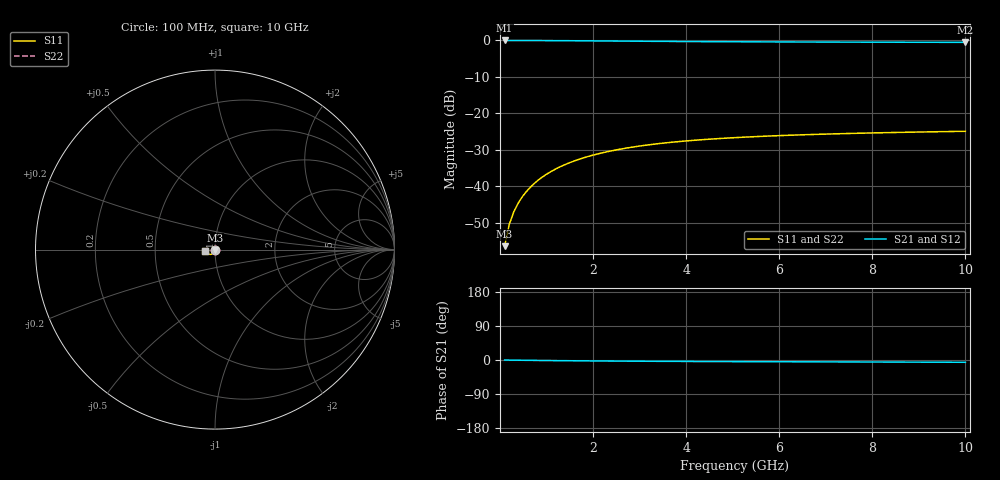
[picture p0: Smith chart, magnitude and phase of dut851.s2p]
! Touchstone file exported from HFSS 2024.1.0
!  File:  C:/UserFiles/LocalFiles/RDL_TSV_Batchsim/temp_TSV1_851_1779880954.aedt
!  Generated:  07:28:08 PM May 27, 2026
!  Design:  TSV1
!  Project:  temp_TSV1_851_1779880954
!  Setup:  Setup1
!  Solution:  Sweep
! Variables:
!  dtsv = 10.15um
!  hbump = 3um
!  htsv = 96.03um
!  lrdl = 252.1521522um
!  p = 40
!  p1 = 46.16um
!  t = 500um
!  trdl = 3um
!  wrdl = 24.89489489um
# GHz S MA R 50.000000
! Terminal data exported
! Port[1] = TSV22_T1
! Port[2] = TSV22_T2
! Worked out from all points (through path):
!   100 points, 100 MHz to 10 GHz, reference 50 ohm
!   highest |S21| = 0.00 dB at 100 MHz (marker M1); lowest = -0.5 dB at 10 GHz (marker M2)
!   lowest |S11| = -56.5 dB at 100 MHz (marker M3), VSWR 1.00, Z = 50 - j0.15 ohm
!   |S11| at or under -10 dB: start of sweep to end of sweep
!   |S22| runs from -56.5 to -24.9 dB; largest |S21 - S12| = 3e-15
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0.1  0.001503 -85.5  0.9998 -0.1  0.9998 -0.1  0.001503 -85.5
! Gamma 0 0 0 0
! Port Impedance 50 0 50 0
0.2  0.002994 -90.1  0.9996 -0.3  0.9996 -0.3  0.002994 -90.1
0.3  0.004487 -92.7  0.9994 -0.4  0.9994 -0.4  0.004487 -92.7
0.4  0.005975 -94.8  0.9991 -0.6  0.9991 -0.6  0.005975 -94.8
0.5  0.007455 -96.7  0.9987 -0.7  0.9987 -0.7  0.007455 -96.7
0.6  0.00892 -98.6  0.9982 -0.8  0.9982 -0.8  0.00892 -98.6
0.7  0.01037 -100.4  0.9977 -1.0  0.9977 -1.0  0.01037 -100.4
0.8  0.0118 -102.1  0.9971 -1.1  0.9971 -1.1  0.0118 -102.1
0.9  0.0132 -103.8  0.9964 -1.2  0.9964 -1.2  0.0132 -103.8
1.1  0.01593 -107.1  0.9949 -1.5  0.9949 -1.5  0.01593 -107.1
1.4  0.01981 -111.8  0.9923 -1.8  0.9923 -1.8  0.01981 -111.8
1.6  0.02224 -114.7  0.9903 -2.1  0.9903 -2.1  0.02224 -114.7
1.8  0.02453 -117.6  0.9883 -2.3  0.9883 -2.3  0.02453 -117.6
2.1  0.02771 -121.6  0.9852 -2.5  0.9852 -2.5  0.02771 -121.6
2.5  0.0315 -126.6  0.981 -2.9  0.981 -2.9  0.0315 -126.6
2.9  0.03479 -131.2  0.977 -3.1  0.977 -3.1  0.03479 -131.2
3.4  0.03831 -136.4  0.9722 -3.5  0.9722 -3.5  0.03831 -136.4
4.2  0.04278 -143.5  0.9656 -3.9  0.9656 -3.9  0.04278 -143.5
5.1  0.04656 -150.2  0.9595 -4.2  0.9595 -4.2  0.04656 -150.2
6.7  0.0512 -159.8  0.9515 -4.8  0.9515 -4.8  0.0512 -159.8
8.4  0.05446 -167.7  0.9459 -5.4  0.9459 -5.4  0.05446 -167.7
10  0.05668 -173.9  0.9422 -6.0  0.9422 -6.0  0.05668 -173.9
